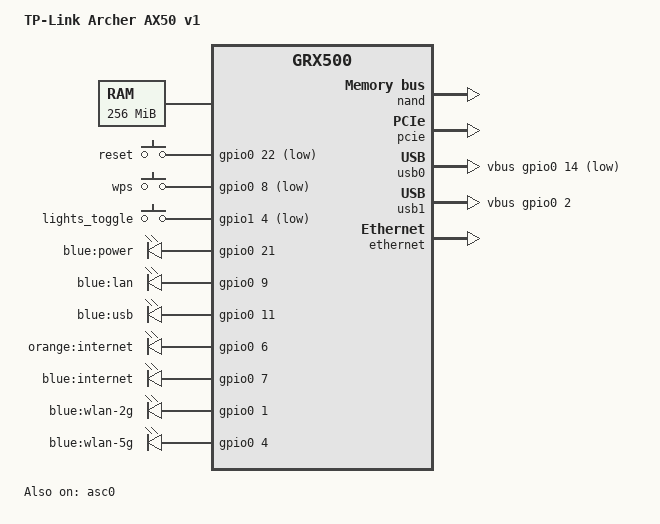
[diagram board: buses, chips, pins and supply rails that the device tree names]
// SPDX-License-Identifier: GPL-2.0-only
#include "grx500.dtsi"
#include <dt-bindings/input/input.h>

/ {
	compatible = "tplink,archer-ax50-v1", "lantiq,grx500";
	model = "TP-Link Archer AX50 v1";

	chosen { stdout-path = "serial0:115200n8"; };
	aliases {
		led-boot = &led_power;
		led-failsafe = &led_power;
		led-running = &led_power;
		led-upgrade = &led_power;
	};

	memory@20000000 {
		device_type = "memory";
		reg = <0x20000000 0x10000000>;
	};

	reserved-memory {
		#address-cells = <1>;
		#size-cells = <1>;
		ranges;
		boot-monitor@20000000 {
			reg = <0x20000000 0x20000>;
			no-map;
		};
	};

	keys {
		compatible = "gpio-keys-polled";
		poll-interval = <100>;
		button-reset {
			label = "reset";
			linux,code = <KEY_RESTART>;
			gpios = <&gpio0 22 GPIO_ACTIVE_LOW>;
		};
		button-wps {
			label = "wps";
			linux,code = <KEY_WPS_BUTTON>;
			gpios = <&gpio0 8 GPIO_ACTIVE_LOW>;
		};
		button-led {
			label = "lights_toggle";
			linux,code = <KEY_LIGHTS_TOGGLE>;
			gpios = <&gpio1 4 (GPIO_ACTIVE_LOW | GPIO_PULL_DISABLE)>;
		};
	};

	leds {
		compatible = "gpio-leds";
		led_power: led-power {
			label = "blue:power";
			gpios = <&gpio0 21 GPIO_ACTIVE_HIGH>;
			default-state = "on";
		};
		led-lan {
			label = "blue:lan";
			gpios = <&gpio0 9 GPIO_ACTIVE_HIGH>;
		};
		led-usb {
			label = "blue:usb";
			gpios = <&gpio0 11 GPIO_ACTIVE_HIGH>;
		};
		led-internet-orange {
			label = "orange:internet";
			gpios = <&gpio0 6 GPIO_ACTIVE_HIGH>;
		};
		led-internet-blue {
			label = "blue:internet";
			gpios = <&gpio0 7 GPIO_ACTIVE_HIGH>;
		};
		led-wlan2g {
			label = "blue:wlan-2g";
			gpios = <&gpio0 1 GPIO_ACTIVE_HIGH>;
			linux,default-trigger = "wave-0000:01:00.0-0-radio";
		};
		led-wlan5g {
			label = "blue:wlan-5g";
			gpios = <&gpio0 4 GPIO_ACTIVE_HIGH>;
			linux,default-trigger = "wave-0000:01:00.0-1-radio";
		};
	};
};

&asc0 { status = "okay"; };

&gpio1 {
	lantiq,bbspi-en = <0>;
};

&nand {
	status = "okay";
	partitions {
		compatible = "fixed-partitions";
		#address-cells = <1>;
		#size-cells = <1>;
		partition@0 {
			label = "uboot";
			reg = <0x0 0x100000>;
			read-only;
		};
		partition@100000 {
			label = "ubootconfigA";
			reg = <0x100000 0x40000>;
		};
		partition@140000 {
			label = "ubootconfigB";
			reg = <0x140000 0x40000>;
		};
		partition@180000 {
			label = "gphyfirmware";
			reg = <0x180000 0x40000>;
			read-only;
		};
		partition@1c0000 {
			label = "calibration";
			reg = <0x1c0000 0x100000>;
			read-only;
		};
		partition@2c0000 {
			label = "system_sw";
			reg = <0x2c0000 0x7c00000>;
		};
		partition@7ec0000 {
			label = "res";
			reg = <0x7ec0000 0x140000>;
			read-only;
		};
	};
};

&pcie {
	status = "okay";
	main-reset-gpios = <&gpio1 11 (GPIO_ACTIVE_LOW | GPIO_PULL_DISABLE)>;
	aux-reset-gpios = <&gpio1 29 (GPIO_ACTIVE_LOW | GPIO_PULL_DISABLE)>;
};

&usb0 {
	status = "okay";
	vbus-gpios = <&gpio0 14 GPIO_ACTIVE_LOW>;
};

&usb1 {
	status = "okay";
	vbus-gpios = <&gpio0 2 GPIO_ACTIVE_HIGH>;
};

&ethernet {
	status = "okay";
};

&lan5 { label = "lan1"; };
&lan4 { label = "lan2"; };
&lan3 { label = "lan3"; };
&lan2 { label = "lan4"; };
